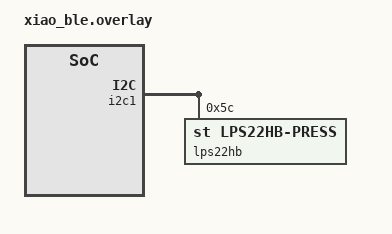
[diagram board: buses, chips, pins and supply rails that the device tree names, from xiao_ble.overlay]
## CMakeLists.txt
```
cmake_minimum_required(VERSION 3.20.0)
find_package(Zephyr REQUIRED HINTS $ENV{ZEPHYR_BASE})

project(lps22hb_prac_1)

target_sources(app PRIVATE src/main.c)
```

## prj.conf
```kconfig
#log
CONFIG_LOG=y
CONFIG_LOG_MODE_MINIMAL=y
CONFIG_PRINTK=y
#i2c and sensor
CONFIG_I2C=y
CONFIG_SENSOR=y

#floating point
CONFIG_CBPRINTF_FP_SUPPORT=y
```

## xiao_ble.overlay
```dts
&i2c1 {
	lps22hb@5c {
		compatible = "st,lps22hb-press"; // to get compatible string name see binding c:\ncs\v2.5.2\zephyr\dts\bindings\sensor\st,lps22hb-press.yaml
		reg = <0x5c>;
	};
};
```

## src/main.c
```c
#include <zephyr/kernel.h>
#include <zephyr/device.h>
#include <zephyr/drivers/sensor.h>
#include <zephyr/logging/log.h>
#include <zephyr/sys/util.h>

LOG_MODULE_REGISTER(lps22hb_prac_1, LOG_LEVEL_DBG);

static unsigned int obs;
struct sensor_value pressure, temp;

static void process_sample(const struct device *dev)
{

	if (sensor_sample_fetch(dev) < 0)
	{
		LOG_ERR("Sensor sample update error\n");
		return;
	}

	if (sensor_channel_get(dev, SENSOR_CHAN_PRESS, &pressure) < 0)
	{
		LOG_ERR("Cannot read LPS22HB pressure channel\n");
		return;
	}

	if (sensor_channel_get(dev, SENSOR_CHAN_AMBIENT_TEMP, &temp) < 0)
	{
		LOG_ERR("Cannot read LPS22HB temperature channel\n");
		return;
	}

	++obs;
	LOG_INF("Observation:%u\n", obs);

	/* display pressure */
	LOG_INF("Pressure:%.1f kPa\n", sensor_value_to_double(&pressure));

	/* display temperature */
	LOG_INF("Temperature:%.1f C\n", sensor_value_to_double(&temp));

	LOG_INF("=========================\n\r");
}

int main(void)
{
	const struct device *const dev = DEVICE_DT_GET_ONE(st_lps22hb_press);

	if (!device_is_ready(dev))
	{
		LOG_INF("Device %s is not ready\n", dev->name);
		return 0;
	}

	while (true)
	{
		process_sample(dev);
		k_sleep(K_MSEC(2000));
	}
	return 0;
}
```
